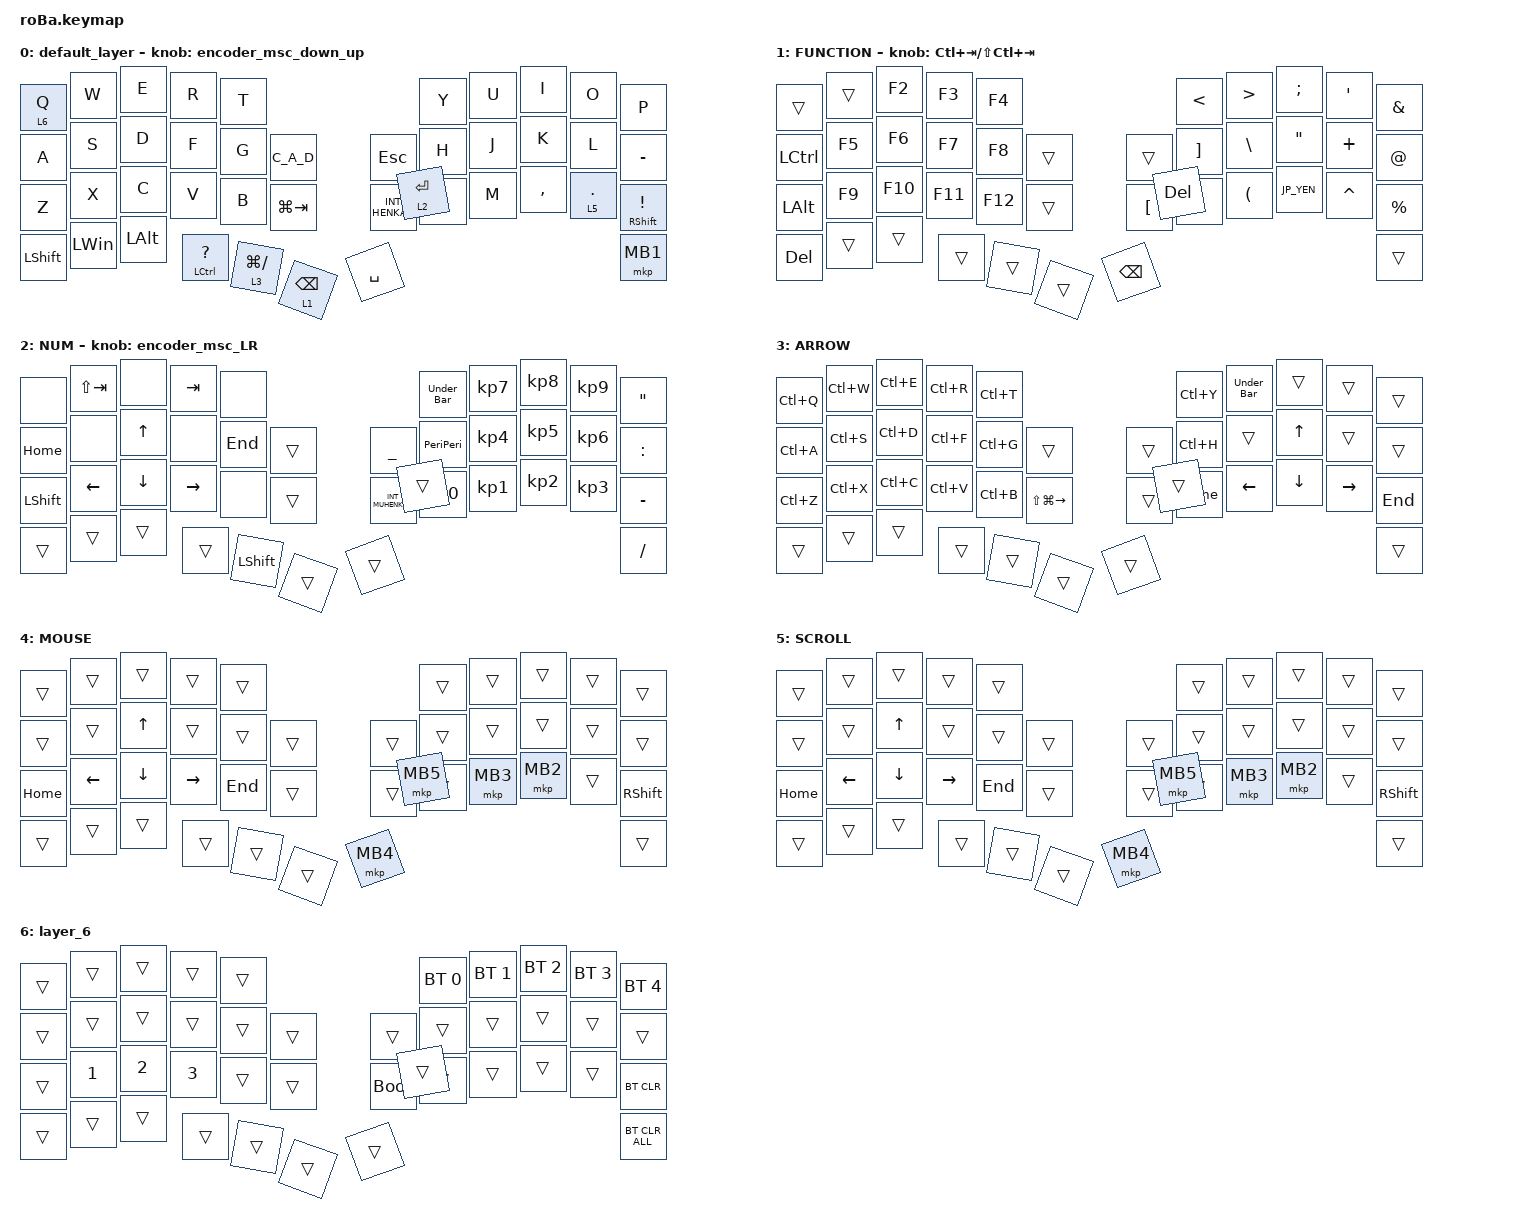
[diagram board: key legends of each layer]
#include <dt-bindings/zmk/mouse.h>
#include <behaviors.dtsi>
#include <dt-bindings/zmk/bt.h>
#include <dt-bindings/zmk/keys.h>
#include <dt-bindings/zmk/pointing.h>

#define ZMK_POINTING_DEFAULT_SCRL_VAL 80

// OS設定を日本語キーボードのまま使用するための変換定義

#define JP_DQUOTE       AT                // "
#define JP_AMPERSAND    CARET             // &
#define JP_QUOTE        AMPERSAND         // '
#define JP_EQUAL        UNDER             // =
#define JP_CARET        EQUAL             // ^
#define JP_YEN          0x89              // ¥
#define JP_PLUS         COLON             // +
#define JP_TILDE        PLUS              // ~
#define JP_PIPE         LS(0x89)          // |
#define JP_AT           LEFT_BRACKET      // @
#define JP_COLON        SINGLE_QUOTE      // :
#define JP_ASTERISK     DOUBLE_QUOTES     // *
#define JP_BACKQUOTE    LEFT_BRACE        // `
#define JP_UNDERSCORE   LS(0x87)          // _
#define JP_LBRACKET     RIGHT_BRACKET     // [
#define JP_RBRACKET     BACKSLASH         // ]
#define JP_LPAREN       ASTERISK          // (
#define JP_RPAREN       LEFT_PARENTHESIS  // )
#define JP_LBRACE       RIGHT_BRACE       // {
#define JP_RBRACE       PIPE              // }
#define JP_KANA         LANGUAGE_1        // かな
#define JP_EISU         LANGUAGE_2        // 英数
#define JP_HANZEN       GRAVE             // 半角/全角

&mt {
    flavor = "balanced";
    quick-tap-ms = <0>;
};

&trackball {
    // automouse-layer = <4>;   // 必要なら自動でマウス層へ

    scroll-layers = <5>;       // このレイヤーでトラックボールをスクロールにする
};

/ {
    combos {
        compatible = "zmk,combos";

        tab {
            bindings = <&kp TAB>;
            key-positions = <11 12>;
        };

        shift_tab {
            bindings = <&kp LS(TAB)>;
            key-positions = <12 13>;
        };
    };

    macros {
        to_layer_0: to_layer_0 {
            compatible = "zmk,behavior-macro-one-param";
            #binding-cells = <1>;
            bindings = <&to 0 &macro_param_1to1 &kp MACRO_PLACEHOLDER>;
            label = "TO_LAYER_0";
        };

        Under_Bar: Under_Bar {
            compatible = "zmk,behavior-macro";
            #binding-cells = <0>;
            wait-ms = <10>;
            tap-ms = <10>;
            bindings = <&kp JP_UNDERSCORE &kp F10>;
            label = "UNDER_BAR";
        };

        PeriPeri: PeriPeri {
            compatible = "zmk,behavior-macro";
            #binding-cells = <0>;
            wait-ms = <10>;
            tap-ms = <10>;
            bindings = <&kp PERIOD &kp F10>;
            label = "PERIPERI";
        };

        C_A_D: C_A_D {
            compatible = "zmk,behavior-macro";
            #binding-cells = <0>;
            wait-ms = <10>;
            tap-ms = <10>;
            bindings =
                <&macro_press>,
                <&kp LCTRL &kp LALT>,
                <&macro_tap>,
                <&kp DEL>,
                <&macro_release>,
                <&kp LCTRL &kp LALT>;
        };
    };

    behaviors {
        lt_to_layer_0: lt_to_layer_0 {
            compatible = "zmk,behavior-hold-tap";
            label = "LAYER_TAP_TO_0";
            bindings = <&mo>, <&to_layer_0>;

            #binding-cells = <2>;
            tapping-term-ms = <200>;
        };

        // 新しく「mlt（マウス・レイヤー・タップ）」という動作を定義

        mlt: mouse_layer_tap {
            compatible = "zmk,behavior-hold-tap";
            #binding-cells = <2>;
            flavor = "tap-preferred";
            tapping-term-ms = <200>;
            bindings = <&mo>, <&mkp>;
        };

        // スクロール上下の設定

        encoder_msc_down_up: encoder_msc_down_up {
            compatible = "zmk,behavior-sensor-rotate";
            label = "ENCODER_MSC_DOWN_UP";
            #sensor-binding-cells = <0>;
            bindings = <&msc SCRL_DOWN>, <&msc SCRL_UP>;

            tap-ms = <20>;
        };

        // スクロール左右の設定

        encoder_msc_LR: encoder_msc_LR {
            compatible = "zmk,behavior-sensor-rotate";
            label = "ENCODER_MSC_LR";
            #sensor-binding-cells = <0>;
            bindings = <&msc SCRL_RIGHT>, <&msc SCRL_LEFT>;

            tap-ms = <20>;
        };

        st: scroll_tap {
            compatible = "zmk,behavior-hold-tap";
            label = "Scroll / Tap";
            bindings = <&mo>, <&kp>;

            #binding-cells = <2>;
            tapping-term-ms = <200>;
            flavor = "balanced";
            hold-while-undecided;
        };
    };

    keymap {
        compatible = "zmk,keymap";

        default_layer {
            bindings = <
&lt 6 Q     &kp W         &kp E         &kp R               &kp T                                                            &kp Y        &kp U  &kp I      &kp O         &kp P
&kp A       &kp S         &kp D         &kp F               &kp G            &C_A_D                          &kp ESC         &kp H        &kp J  &kp K      &kp L         &kp MINUS
&kp Z       &kp X         &kp C         &kp V               &kp B            &kp LG(TAB)                     &kp INT_HENKAN  &kp N        &kp M  &kp COMMA  &lt 5 PERIOD  &mt RSHIFT EXCLAMATION
&kp LSHIFT  &kp LEFT_WIN  &kp LEFT_ALT  &mt LCTRL QUESTION  &lt 3 LG(SLASH)  &lt_to_layer_0 1 BACKSPACE      &kp SPACE       &lt 2 ENTER                                  &mkp MB1
            >;

            sensor-bindings = <&encoder_msc_down_up>;
        };

        FUNCTION {
            bindings = <
&trans        &trans  &kp F2   &kp F3   &kp F4                              &kp LESS_THAN    &kp GREATER_THAN  &kp SEMICOLON    &kp JP_COLON      &kp JP_QUOTE
&kp LCTRL     &kp F5  &kp F6   &kp F7   &kp F8   &trans      &trans         &kp JP_LBRACKET  &kp JP_RBRACKET   &kp JP_ASTERISK  &kp JP_TILDE      &kp JP_DQUOTE
&kp LEFT_ALT  &kp F9  &kp F10  &kp F11  &kp F12  &trans      &kp JP_AT      &kp JP_LPAREN    &kp JP_RPAREN     &kp JP_YEN       &kp JP_AMPERSAND  &kp PERCENT
&kp DEL       &trans  &trans   &trans   &trans   &trans      &kp BACKSPACE  &kp DELETE                                                            &trans
            >;

            sensor-bindings = <&inc_dec_kp LC(TAB) LS(LC(TAB))>;
        };

        NUM {
            bindings = <
&none           &kp LS(TAB)     &none         &kp TAB          &none                                         &Under_Bar       &kp KP_NUMBER_7  &kp KP_NUMBER_8  &kp KP_NUMBER_9  &kp JP_ASTERISK
&kp HOME        &none           &kp UP_ARROW  &none            &kp END         &trans      &kp JP_EQUAL      &PeriPeri        &kp KP_NUMBER_4  &kp KP_NUMBER_5  &kp KP_NUMBER_6  &kp JP_PLUS
&kp LEFT_SHIFT  &kp LEFT_ARROW  &kp DOWN      &kp RIGHT_ARROW  &none           &trans      &kp INT_MUHENKAN  &kp KP_NUMBER_0  &kp KP_NUMBER_1  &kp KP_NUMBER_2  &kp KP_NUMBER_3  &kp MINUS
&trans          &trans          &trans        &trans           &kp LEFT_SHIFT  &trans      &trans            &trans                                                              &kp SLASH
            >;

            sensor-bindings = <&encoder_msc_LR>;
        };

        ARROW {
            bindings = <
&kp LC(Q)  &kp LC(W)  &kp LC(E)  &kp LC(R)  &kp LC(T)                                 &kp LC(Y)  &Under_Bar  &trans    &trans     &trans
&kp LC(A)  &kp LC(S)  &kp LC(D)  &kp LC(F)  &kp LC(G)  &trans                 &trans  &kp LC(H)  &trans      &kp UP    &trans     &trans
&kp LC(Z)  &kp LC(X)  &kp LC(C)  &kp LC(V)  &kp LC(B)  &kp LS(LG(RIGHT))      &trans  &kp HOME   &kp LEFT    &kp DOWN  &kp RIGHT  &kp END
&trans     &trans     &trans     &trans     &trans     &trans                 &trans  &trans                                      &trans
            >;
        };

        MOUSE {
            bindings = <
&trans    &trans    &trans    &trans     &trans                         &trans    &trans    &trans    &trans  &trans
&trans    &trans    &kp UP    &trans     &trans   &trans      &trans    &trans    &trans    &trans    &trans  &trans
&kp HOME  &kp LEFT  &kp DOWN  &kp RIGHT  &kp END  &trans      &trans    &trans    &mkp MB3  &mkp MB2  &trans  &kp RSHIFT
&trans    &trans    &trans    &trans     &trans   &trans      &mkp MB4  &mkp MB5                              &trans
            >;
        };

        SCROLL {
            bindings = <
&trans    &trans    &trans    &trans     &trans                         &trans    &trans    &trans    &trans  &trans
&trans    &trans    &kp UP    &trans     &trans   &trans      &trans    &trans    &trans    &trans    &trans  &trans
&kp HOME  &kp LEFT  &kp DOWN  &kp RIGHT  &kp END  &trans      &trans    &trans    &mkp MB3  &mkp MB2  &trans  &kp RSHIFT
&trans    &trans    &trans    &trans     &trans   &trans      &mkp MB4  &mkp MB5                              &trans
            >;
        };

        layer_6 {
            bindings = <
&trans  &trans        &trans        &trans        &trans                           &bt BT_SEL 0  &bt BT_SEL 1  &bt BT_SEL 2  &bt BT_SEL 3  &bt BT_SEL 4
&trans  &trans        &trans        &trans        &trans  &trans      &trans       &trans        &trans        &trans        &trans        &trans
&trans  &kp NUMBER_1  &kp NUMBER_2  &kp NUMBER_3  &trans  &trans      &bootloader  &trans        &trans        &trans        &trans        &bt BT_CLR
&trans  &trans        &trans        &trans        &trans  &trans      &trans       &trans                                                  &bt BT_CLR_ALL
            >;
        };
    };
};
